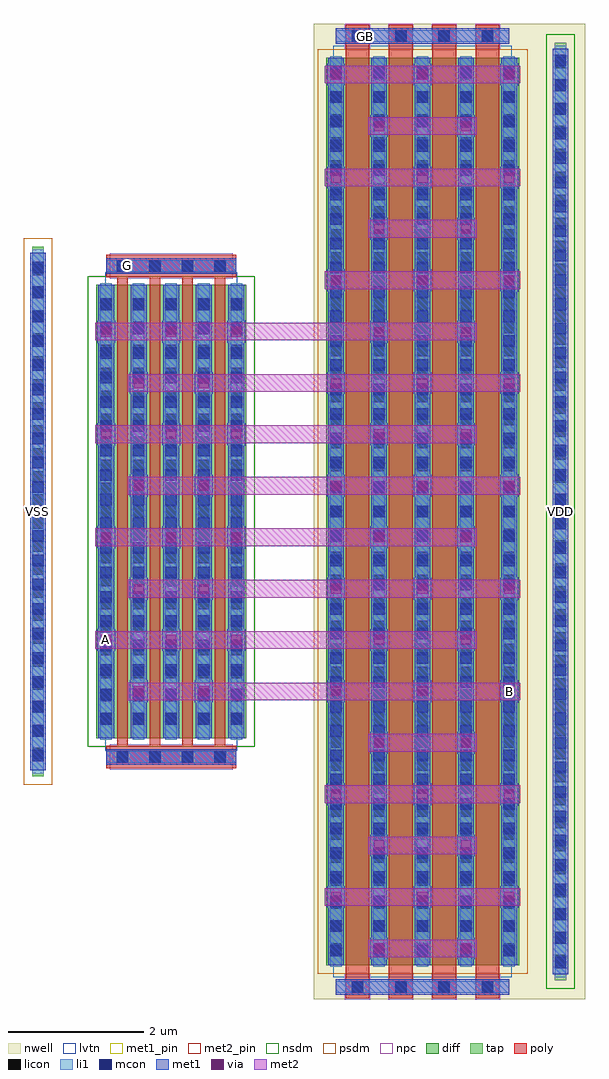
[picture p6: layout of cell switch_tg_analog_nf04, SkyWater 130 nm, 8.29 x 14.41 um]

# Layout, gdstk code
import gdstk
lib = gdstk.Library(unit=1e-6, precision=1e-09)
def R(c, l, rs):  # rectangles x0, y0, x1, y1
    for r in rs: c.add(gdstk.rectangle(r[:2], r[2:], *l))
def A(c, l, x, y, w, h, nx, ny, dx, dy):  # array of equal rectangles
    R(c, l, [(x+i*dx, y+j*dy, x+i*dx+w, y+j*dy+h) for i in range(nx) for j in range(ny)])
nwell = (64, 20)
diff = (65, 20)
tap = (65, 44)
poly = (66, 20)
licon = (66, 44)
li1 = (67, 20)
mcon = (67, 44)
met1_pin = (68, 16)
met1 = (68, 20)
via = (68, 44)
met2_pin = (69, 16)
met2 = (69, 20)
nsdm = (93, 44)
psdm = (94, 20)
npc = (95, 20)
lvtn = (125, 44)

sky130_fd_pr__pfet_01v8_ = lib.new_cell('sky130_fd_pr__pfet_01v8_lvt_P94RXG')
R(sky130_fd_pr__pfet_01v8_, nwell, [(-1.605,-7.2,1.605,7.2)])
R(sky130_fd_pr__pfet_01v8_, diff, [(-1.425,-6.7,1.425,6.7)])
A(sky130_fd_pr__pfet_01v8_, poly, -1.135, -7.185, 0.35, 14.37, 4, 1, 0.64, 0)
A(sky130_fd_pr__pfet_01v8_, licon, -1.045, -7.105, 0.17, 0.17, 4, 2, 0.64, 14.04)
A(sky130_fd_pr__pfet_01v8_, licon, -1.365, -6.545, 0.17, 0.17, 5, 39, 0.64, 0.34)
A(sky130_fd_pr__pfet_01v8_, li1, -1.365, -6.72, 0.17, 13.44, 5, 1, 0.64, 0)
R(sky130_fd_pr__pfet_01v8_, li1, [(-1.28,-7.105,1.28,-6.935), (-1.28,6.935,1.28,7.105)])
A(sky130_fd_pr__pfet_01v8_, mcon, -1.045, -7.105, 0.17, 0.17, 4, 2, 0.64, 14.04)
A(sky130_fd_pr__pfet_01v8_, mcon, -1.365, -6.565, 0.17, 0.17, 5, 37, 0.64, 0.36)
A(sky130_fd_pr__pfet_01v8_, met1, -1.115, -7.135, 0.31, 0.03, 4, 2, 0.64, 0.2)
A(sky130_fd_pr__pfet_01v8_, met1, -1.395, -6.7, 0.23, 13.4, 5, 1, 0.64, 0)
A(sky130_fd_pr__pfet_01v8_, met1, -1.115, 6.905, 0.31, 0.03, 4, 2, 0.64, 0.2)
R(sky130_fd_pr__pfet_01v8_, met1, [(-1.28,-7.105,1.28,-6.935), (-1.28,6.935,1.28,7.105)])
R(sky130_fd_pr__pfet_01v8_, psdm, [(-1.55,-6.825,1.55,6.825)])
A(sky130_fd_pr__pfet_01v8_, npc, -1.145, -7.205, 0.37, 0.37, 4, 2, 0.64, 14.04)
R(sky130_fd_pr__pfet_01v8_, lvtn, [(-1.315,-6.88,1.315,6.88)])
sky130_fd_pr__pfet_01v8_.add(gdstk.Label('D0', (-1.28,0), layer=67, texttype=5))
sky130_fd_pr__pfet_01v8_.add(gdstk.Label('G', (0.96,7.02), layer=67, texttype=5))
sky130_fd_pr__pfet_01v8_.add(gdstk.Label('G', (0.32,7.02), layer=67, texttype=5))
sky130_fd_pr__pfet_01v8_.add(gdstk.Label('G', (-0.32,7.02), layer=67, texttype=5))
sky130_fd_pr__pfet_01v8_.add(gdstk.Label('G', (-0.96,7.02), layer=67, texttype=5))
sky130_fd_pr__pfet_01v8_.add(gdstk.Label('S1', (-0.64,0), layer=67, texttype=5))
sky130_fd_pr__pfet_01v8_.add(gdstk.Label('D2', (0,0), layer=67, texttype=5))
sky130_fd_pr__pfet_01v8_.add(gdstk.Label('S3', (0.64,0), layer=67, texttype=5))

sky130_fd_pr__nfet_01v8_ = lib.new_cell('sky130_fd_pr__nfet_01v8_lvt_M7P8DN')
R(sky130_fd_pr__nfet_01v8_, diff, [(-1.105,-3.35,1.105,3.35)])
A(sky130_fd_pr__nfet_01v8_, poly, -0.795, -3.46, 0.15, 6.92, 4, 1, 0.48, 0)
R(sky130_fd_pr__nfet_01v8_, poly, [(-0.96,-3.79,0.96,-3.46), (-0.96,3.46,0.96,3.79)])
A(sky130_fd_pr__nfet_01v8_, licon, -0.805, -3.71, 0.17, 0.17, 4, 2, 0.48, 7.25)
A(sky130_fd_pr__nfet_01v8_, licon, -1.045, -3.145, 0.17, 0.17, 5, 19, 0.48, 0.34)
A(sky130_fd_pr__nfet_01v8_, li1, -1.045, -3.37, 0.17, 6.74, 5, 1, 0.48, 0)
R(sky130_fd_pr__nfet_01v8_, li1, [(-0.96,-3.71,0.96,-3.54), (-0.96,3.54,0.96,3.71)])
A(sky130_fd_pr__nfet_01v8_, mcon, -0.805, -3.71, 0.17, 0.17, 4, 2, 0.48, 7.25)
A(sky130_fd_pr__nfet_01v8_, mcon, -1.045, -3.145, 0.17, 0.17, 5, 18, 0.48, 0.36)
A(sky130_fd_pr__nfet_01v8_, met1, -0.865, -3.74, 0.29, 0.03, 4, 2, 0.48, 0.2)
A(sky130_fd_pr__nfet_01v8_, met1, -1.075, -3.35, 0.23, 6.7, 5, 1, 0.48, 0)
A(sky130_fd_pr__nfet_01v8_, met1, -0.865, 3.51, 0.29, 0.03, 4, 2, 0.48, 0.2)
R(sky130_fd_pr__nfet_01v8_, met1, [(-0.96,-3.71,0.96,-3.54), (-0.96,3.54,0.96,3.71)])
R(sky130_fd_pr__nfet_01v8_, nsdm, [(-1.23,-3.475,1.23,3.475)])
R(sky130_fd_pr__nfet_01v8_, npc, [(-0.905,-3.81,0.905,-3.44), (-0.905,3.44,0.905,3.81)])
R(sky130_fd_pr__nfet_01v8_, lvtn, [(-0.975,-3.53,0.975,3.53)])
sky130_fd_pr__nfet_01v8_.add(gdstk.Label('D0', (-0.96,0), layer=67, texttype=5))
sky130_fd_pr__nfet_01v8_.add(gdstk.Label('G', (0.72,3.625), layer=67, texttype=5))
sky130_fd_pr__nfet_01v8_.add(gdstk.Label('G', (0.24,3.625), layer=67, texttype=5))
sky130_fd_pr__nfet_01v8_.add(gdstk.Label('G', (-0.24,3.625), layer=67, texttype=5))
sky130_fd_pr__nfet_01v8_.add(gdstk.Label('G', (-0.72,3.625), layer=67, texttype=5))
sky130_fd_pr__nfet_01v8_.add(gdstk.Label('S1', (-0.48,0), layer=67, texttype=5))
sky130_fd_pr__nfet_01v8_.add(gdstk.Label('D2', (0,0), layer=67, texttype=5))
sky130_fd_pr__nfet_01v8_.add(gdstk.Label('S3', (0.48,0), layer=67, texttype=5))

switch_tg_analog_nf04 = lib.new_cell('switch_tg_analog_nf04')
R(switch_tg_analog_nf04, nwell, [(4.41,-7.2,8.42,7.2)])
R(switch_tg_analog_nf04, tap, [(7.97,-6.92,8.14,6.92), (0.25,-3.91,0.42,3.91)])
A(switch_tg_analog_nf04, licon, 7.97, -6.715, 0.17, 0.17, 1, 40, 0, 0.34)
A(switch_tg_analog_nf04, licon, 0.25, -3.655, 0.17, 0.17, 1, 22, 0, 0.34)
R(switch_tg_analog_nf04, li1, [(7.97,-6.88,8.14,6.88), (0.25,-3.87,0.42,3.87)])
A(switch_tg_analog_nf04, mcon, 7.97, -6.745, 0.17, 0.17, 1, 38, 0, 0.36)
A(switch_tg_analog_nf04, mcon, 0.25, -3.685, 0.17, 0.17, 1, 21, 0, 0.36)
R(switch_tg_analog_nf04, met1_pin, [(0.22,-0.4,0.45,0.4), (7.94,-0.4,8.17,0.4), (1.345,3.51,1.98,3.74), (4.735,6.905,5.6,7.135)])
A(switch_tg_analog_nf04, met1, 4.605, -5.85, 0.26, 0.32, 3, 2, 1.28, 1.515)
A(switch_tg_analog_nf04, met1, 4.605, -2.815, 0.26, 0.32, 3, 2, 1.28, 1.515)
A(switch_tg_analog_nf04, met1, 1.215, -2.055, 0.26, 0.32, 3, 2, 0.96, 1.515)
A(switch_tg_analog_nf04, met1, 4.605, 0.22, 0.26, 0.32, 3, 2, 1.28, 1.515)
A(switch_tg_analog_nf04, met1, 1.215, 0.98, 0.26, 0.32, 3, 2, 0.96, 1.515)
A(switch_tg_analog_nf04, met1, 4.605, 3.255, 0.26, 0.32, 3, 2, 1.28, 1.515)
A(switch_tg_analog_nf04, met1, 4.605, 6.29, 0.26, 0.32, 3, 1, 1.28, 0)
R(switch_tg_analog_nf04, met1, [(4.735,-7.135,7.295,-6.905), (7.94,-6.83,8.17,6.83), (5.245,-6.61,5.505,-6.29), (6.525,-6.61,6.785,-6.29), (5.245,-5.09,5.505,-4.77), (6.525,-5.09,6.785,-4.77), (0.22,-3.82,0.45,3.82), (1.345,-3.74,3.265,-3.51), (5.245,-3.575,5.505,-3.255), (6.525,-3.575,6.785,-3.255), (1.695,-2.815,1.955,-2.495), (2.655,-2.815,2.915,-2.495), (5.245,-2.055,5.505,-1.735), (6.525,-2.055,6.785,-1.735), (1.695,-1.3,1.955,-0.98), (2.655,-1.3,2.915,-0.98), (5.245,-0.54,5.505,-0.22), (6.525,-0.54,6.785,-0.22), (1.695,0.22,1.955,0.54), (2.655,0.22,2.915,0.54), (5.245,0.98,5.505,1.3), (6.525,0.98,6.785,1.3), (1.695,1.735,1.955,2.055), (2.655,1.735,2.915,2.055), (5.245,2.495,5.505,2.815), (6.525,2.495,6.785,2.815), (1.345,3.51,3.265,3.74), (5.245,4.015,5.505,4.335), (6.525,4.015,6.785,4.335), (5.245,5.53,5.505,5.85), (6.525,5.53,6.785,5.85), (4.735,6.905,7.295,7.135)])
A(switch_tg_analog_nf04, via, 4.66, -5.765, 0.15, 0.15, 3, 2, 1.28, 1.515)
A(switch_tg_analog_nf04, via, 4.66, -2.73, 0.15, 0.15, 3, 2, 1.28, 1.515)
A(switch_tg_analog_nf04, via, 1.27, -1.97, 0.15, 0.15, 3, 2, 0.96, 1.515)
A(switch_tg_analog_nf04, via, 4.66, 0.305, 0.15, 0.15, 3, 2, 1.28, 1.515)
A(switch_tg_analog_nf04, via, 1.27, 1.065, 0.15, 0.15, 3, 2, 0.96, 1.515)
A(switch_tg_analog_nf04, via, 4.66, 3.34, 0.15, 0.15, 3, 2, 1.28, 1.515)
A(switch_tg_analog_nf04, via, 4.66, 6.375, 0.15, 0.15, 3, 1, 1.28, 0)
R(switch_tg_analog_nf04, via, [(5.3,-6.525,5.45,-6.375), (6.58,-6.525,6.73,-6.375), (5.3,-5.005,5.45,-4.855), (6.58,-5.005,6.73,-4.855), (5.3,-3.49,5.45,-3.34), (6.58,-3.49,6.73,-3.34), (1.75,-2.73,1.9,-2.58), (2.71,-2.73,2.86,-2.58), (5.3,-1.97,5.45,-1.82), (6.58,-1.97,6.73,-1.82), (1.75,-1.215,1.9,-1.065), (2.71,-1.215,2.86,-1.065), (5.3,-0.455,5.45,-0.305), (6.58,-0.455,6.73,-0.305), (1.75,0.305,1.9,0.455), (2.71,0.305,2.86,0.455), (5.3,1.065,5.45,1.215), (6.58,1.065,6.73,1.215), (1.75,1.82,1.9,1.97), (2.71,1.82,2.86,1.97), (5.3,2.58,5.45,2.73), (6.58,2.58,6.73,2.73), (5.3,4.1,5.45,4.25), (6.58,4.1,6.73,4.25), (5.3,5.615,5.45,5.765), (6.58,5.615,6.73,5.765)])
R(switch_tg_analog_nf04, met2_pin, [(7.155,-2.785,7.455,-2.525), (1.185,-2.025,1.485,-1.765)])
R(switch_tg_analog_nf04, met2, [(5.215,-6.58,6.815,-6.32), (4.575,-5.82,7.455,-5.56), (5.215,-5.06,6.815,-4.8), (4.575,-4.305,7.455,-4.045), (5.215,-3.545,6.815,-3.285), (1.665,-2.785,7.455,-2.525), (1.185,-2.025,6.815,-1.765), (1.665,-1.27,7.455,-1.01), (1.185,-0.51,6.815,-0.25), (1.665,0.25,7.455,0.51), (1.185,1.01,6.815,1.27), (1.665,1.765,7.455,2.025), (1.185,2.525,6.815,2.785), (4.575,3.285,7.455,3.545), (5.215,4.045,6.815,4.305), (4.575,4.8,7.455,5.06), (5.215,5.56,6.815,5.82), (4.575,6.32,7.455,6.58)])
R(switch_tg_analog_nf04, nsdm, [(7.845,-7.045,8.265,7.045)])
R(switch_tg_analog_nf04, psdm, [(0.125,-4.035,0.545,4.035)])
switch_tg_analog_nf04.add(gdstk.Reference(sky130_fd_pr__pfet_01v8_, (6.015,0)))
switch_tg_analog_nf04.add(gdstk.Reference(sky130_fd_pr__nfet_01v8_, (2.305,0)))
switch_tg_analog_nf04.add(gdstk.Label('G', (1.662,3.625), layer=68, texttype=5))
switch_tg_analog_nf04.add(gdstk.Label('GB', (5.167,7.02), layer=68, texttype=5))
switch_tg_analog_nf04.add(gdstk.Label('VSS', (0.335,0), layer=68, texttype=5))
switch_tg_analog_nf04.add(gdstk.Label('VDD', (8.055,0), layer=68, texttype=5))
switch_tg_analog_nf04.add(gdstk.Label('A', (1.335,-1.895), layer=69, texttype=5))
switch_tg_analog_nf04.add(gdstk.Label('B', (7.305,-2.655), layer=69, texttype=5))

lib.write_gds('switch_tg_analog_nf04.gds')
